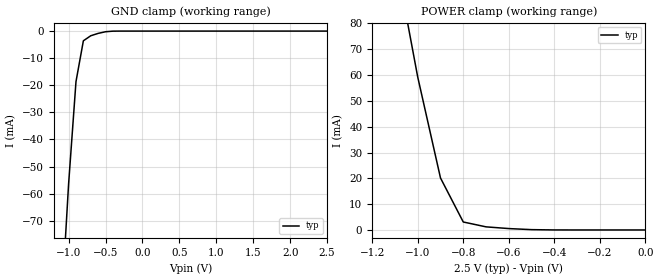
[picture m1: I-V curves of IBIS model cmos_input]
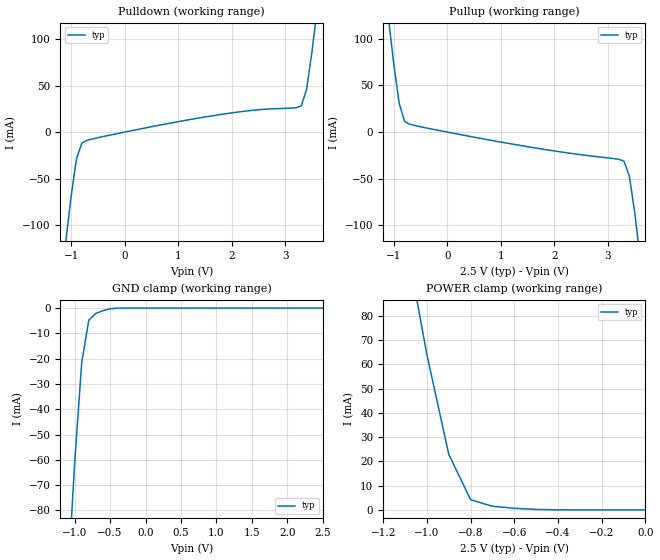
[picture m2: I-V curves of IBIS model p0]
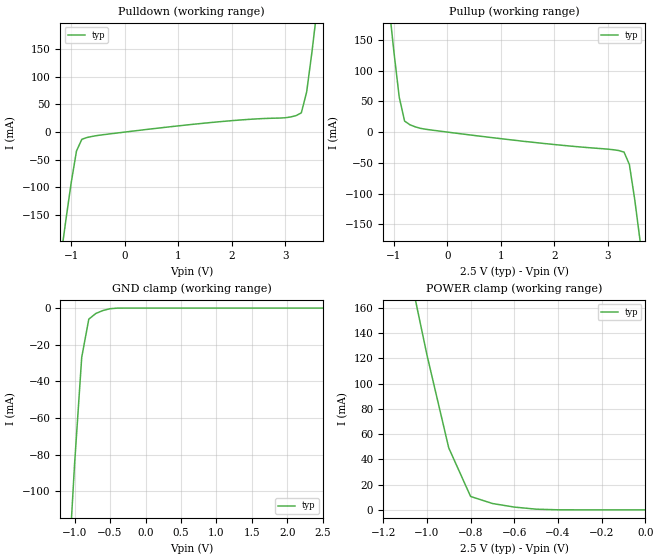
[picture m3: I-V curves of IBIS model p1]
|   This file is an IBIS representation of the   |
|   analog devices   |
|   AD9361   |
|=================== Header Section -------------------------------------------|
[IBIS Ver]  3.2
[File Name] ad9361_2p5_cmos_r2.ibs
[File Rev]  1.0
[Source]   This file originated at Analog Devices.
[Date]   10-31-2011
[Notes]   Quality Check Passes IBIS Checker.
[Disclaimer]
|   This IBIS model is provided "AS IS, Where IS, AND WITH NO
|   WARRANTY OF ANY KINND EITHER EXPRESSED OR IMPLIED, INCLUDING
|   BUT NOT LIMITED TO ANY IMPLIED WARRANTIES OF MECHANTABILITY
|   AND FITNESS FOR A PARTICULAR PURPOSE."
|   In no event will Analog Devices be liable for special, colloateral,
|   incidental, or consequential damages in connection with or
|   arising out of the use of this IBIS model. Analog Devices reserves
|   the right to make changes to the products and IBIS models without
|   prior notice.
[Copyright]   copyright (c)2010 Analog Devices, All rights reserved.
[Component] AD9361
[Manufacturer] Analog Devices
[Package]
|Variable typ   min   max
R_pkg  0.350ohms   NA   NA
L_pkg  2.0nH   NA   NA
C_pkg  .50pF   NA   NA
[Pin]   signal_name   model_name   R_pin   L_pin   C_pin
A1   RX2A_N   NC   NA   NA   NA
A2   RX2A_P   NC   NA   NA   NA
A3   RX2_SA_LNA_OUT   NC   NA   NA   NA
A4   RX2_SA_LNA_IN   NC   NA   NA   NA
A5   TX_MON2   NC   NA   NA   NA
A6   VSSA   NC   NA   NA   NA
A7   TX2A_N   NC   NA   NA   NA
A8   TX2A_P   NC   NA   NA   NA
A9   TX2B_N   NC   NA   NA   NA
A10   TX2B_P   NC   NA   NA   NA
A11   VDDA1P1_TX_VCO   NC   NA   NA   NA
A12   TX_EXT_LO_IN   NC   NA   NA   NA
B1   VSSA   GND   NA   NA   NA
B2   VSSA   GND   NA   NA   NA
B3   AUXDAC1   NC   NA   NA   NA
B4   GPO_3   GPO   NA   NA   NA
B5   GPO_2   GPO   NA   NA   NA
B6   GPO_1   GPO   NA   NA   NA
B7   GPO_0   GPO   NA   NA   NA
B8   VDDA_GPO   POWER   NA   NA   NA
B9   VDDA1P3_TX_LO   POWER   NA   NA   NA
B10   VDDA1P3_TX_VCO_LDO   POWER   NA   NA   NA
B11   TX_VCO_LDO_OUT   NC   NA   NA   NA
B12   VSSA   GND   NA   NA   NA
C1   RX2C_P   NC   NA   NA   NA
C2   VSSA   GND   NA   NA   NA
C3   AUXDAC2   NC   NA   NA   NA
C4   TEST/ENABLE   cmos_input   NA   NA   NA
C5   CTRL_IN0   cmos_input   NA   NA   NA
C6   CTRL_IN1   cmos_input   NA   NA   NA
C7   VSSA   GND   NA   NA   NA
C8   VSSA   GND   NA   NA   NA
C9   VSSA   GND   NA   NA   NA
C10   VSSA   GND   NA   NA   NA
C11   VSSA   GND   NA   NA   NA
C12   VSSA   GND   NA   NA   NA
D1   RX2C_N   NC   NA   NA   NA
D2   VDDA1P3_RX_RF   POWER   NA   NA   NA
D3   VDDA1P3_RX_TX   POWER   NA   NA   NA
D4   CTRL_OUT0   cmos_output   NA   NA   NA
D5   CTRL_IN3   cmos_input   NA   NA   NA
D6   CTRL_IN2   cmos_input   NA   NA   NA
D7   P0_D9-TX_D4_P   p0   NA   NA   NA
D8   P0_D7-TX_D3_P   p0   NA   NA   NA
D9   P0_D5-TX_D2_P   p0   NA   NA   NA
D10   P0_D3-TX_D1_P   p0   NA   NA   NA
D11   P0_D1-TX_D0_P   p0   NA   NA   NA
D12   VSSD   GND   NA   NA   NA
E1   RX2B_P   NC   NA   NA   NA
E2   VDDA1P3_RX_LO   NC   NA   NA   NA
E3   VDDA1P3_TX_LO_BUFFER  POWER   NA   NA   NA
E4   CTRL_OUT1   cmos_output   NA   NA   NA
E5   CTRL_OUT2   cmos_output   NA   NA   NA
E6   CTRL_OUT3   cmos_output   NA   NA   NA
E7   P0_D11-TX_D5_P   p0   NA   NA   NA
E8   P0_D8-TX_D4_N   p0   NA   NA   NA
E9   P0_D6-TX_D3_N   p0   NA   NA   NA
E10   P0_D4-TX_D2_N   p0   NA   NA   NA
E11   P0_D2-TX_D1_N   p0   NA   NA   NA
E12   P0_D0-TX_D0_N   p0   NA   NA   NA
F1   RX2B_N   NC   NA   NA   NA
F2   VDDA1P3_RX_VCO_LDO   POWER   NA   NA   NA
F3   VSSA   GND   NA   NA   NA
F4   CTRL_OUT6   cmos_output   NA   NA   NA
F5   CTRL_OUT5   cmos_output   NA   NA   NA
F6   CTRL_OUT4   cmos_output   NA   NA   NA
F7   VSSD   GND   NA   NA   NA
F8   P0_D10-TX_D5_N   p0   NA   NA   NA
F9   VSSD   GND   NA   NA   NA
F10   FB_CLK_P   cmos_input   NA   NA   NA
F11   VSSD   GND   NA   NA   NA
F12   VDDD1P3_DIG   POWER   NA   NA   NA
G1   RX_EXT_LO_IN   NC   NA   NA   NA
G2   RX_VCO_LDO_OUT   NC   NA   NA   NA
G3   VDDA1P1_RX_VCO   NC   NA   NA   NA
G4   CTRL_OUT7   cmos_output   NA   NA   NA
G5   EN_AGC   cmos_input   NA   NA   NA
G6   ENABLE   cmos_input   NA   NA   NA
G7   RX_FRAME_N   cmos_output   NA   NA   NA
G8   RX_FRAME_P   cmos_output   NA   NA   NA
G9   TX_FRAME_P   cmos_input   NA   NA   NA
G10   FB_CLK_N   cmos_input   NA   NA   NA
G11   DATA_CLK_P   cmos_output   NA   NA   NA
G12   VSSD   GND   NA   NA   NA
H1   RX1B_P   NC   NA   NA   NA
H2   VSSA   GND   NA   NA   NA
H3   VSSA   GND   NA   NA   NA
H4   TXNRX   cmos_input   NA   NA   NA
H5   SYNC_IN   cmos_input   NA   NA   NA
H6   REF_CLK_IN   NC   NA   NA   NA
H7   VSSD   NC   NA   NA   NA
H8   P1_D11-RX_D5_P   p1   NA   NA   NA
H9   TX_FRAME_N   cmos_input   NA   NA   NA
H10   VSSD   GND   NA   NA   NA
H11   DATA_CLK_N   cmos_output   NA   NA   NA
H12   VDD_INTERFACE   POWER   NA   NA   NA
J1   RX1B_N   NC   NA   NA   NA
J2   VSSA   GND   NA   NA   NA
J3   VDDA1P3_RX_SYNTH   POWER   NA   NA   NA
J4   SPI_DI   cmos_bidir   NA   NA   NA
J5   SPI_CLK   cmos_input   NA   NA   NA
J6   CLK_OUT   cmos_output   NA   NA   NA
J7   P1_D10-RX_D5_N   p1   NA   NA   NA
J8   P1_D9-RX_D4_P   p1   NA   NA   NA
J9   P1_D7-RX_D3_P   p1   NA   NA   NA
J10   P1_D5-RX_D2_P   p1   NA   NA   NA
J11   P1_D3-RX_D1_P   p1   NA   NA   NA
J12   P1_D1-RX_D0_P   p1   NA   NA   NA
K1   RX1C_P   NC   NA   NA   NA
K2   VSSA   GND   NA   NA   NA
K3   VDDA1P3_TX_SYNTH   POWER   NA   NA   NA
K4   VDDA1P3_BB   POWER   NA   NA   NA
K5   RESETB   cmos_input   NA   NA   NA
K6   SPI_ENB   cmos_input   NA   NA   NA
K7   P1_D8-RX_D4_N   p1   NA   NA   NA
K8   P1_D6-RX_D3_N   p1   NA   NA   NA
K9   P1_D4-RX_D2_N   p1   NA   NA   NA
K10   P1_D2-RX_D1_N   p1   NA   NA   NA
K11   P1_D0-RX_D0_N   p1   NA   NA   NA
K12   VSSD   GND   NA   NA   NA
L1   RX1C_N   NC   NA   NA   NA
L2   VSSA   GND   NA   NA   NA
L3   VSSA   GND   NA   NA   NA
L4   RBIAS   NC   NA   NA   NA
L5   AUXADC   NC   NA   NA   NA
L6   SPI_DO   cmos_out_3st   NA   NA   NA
L7   VSSA   GND   NA   NA   NA
L8   VSSA   GND   NA   NA   NA
L9   VSSA   GND   NA   NA   NA
L10   VSSA   GND   NA   NA   NA
L11   VSSA   GND   NA   NA   NA
L12   VSSA   GND   NA   NA   NA
M1   RX1A_P   NC   NA   NA   NA
M2   RX1A_N   NC   NA   NA   NA
M3   RX1_SA_LNA_OUT   NC   NA   NA   NA
M4   RX1_SA_LNA_IN   NC   NA   NA   NA
M5   TX_MON1   NC   NA   NA   NA
M6   VSSA   GND   NA   NA   NA
M7   TX1A_P   NC   NA   NA   NA
M8   TX1A_N   NC   NA   NA   NA
M9   TX1B_P   NC   NA   NA   NA
M10   TX1B_N   NC   NA   NA   NA
M11   XTALP   NC   NA   NA   NA
M12   XTALN   NC   NA   NA   NA
| Models and submodels in the file (7): cmos_input (Input), p0 (I/O), p1 (I/O), cmos_out_3st (3-state), cmos_output (Output), cmos_bidir (I/O), GPO (3-state)
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|   Note: V-I curves for all models are truncated
|   if the current exceeds ~200mA
[Model] cmos_input
Model_type Input
Vinl = 0.875
Vinh = 1.625
|   typ   min   max
C_comp  4pF   NA   NA
|   typ   min   max
[Voltage Range]   2.500V  NA   NA
[GND Clamp Reference]   0.000V  NA   NA
[POWER Clamp Reference] 2.500V  NA   NA
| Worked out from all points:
|   GND clamp passes 1 mA (typ) near -0.62 V on its own axis
|   POWER clamp passes 1 mA (typ) near -0.67 V on its own axis
[GND Clamp]
| Voltage  I(typ)   I(min)  I(max)
-2.5V     -857.6mA   NA         NA
-1.1V     -103.1mA   NA         NA
-1V       -56.47mA   NA         NA
-900mV    -18.66mA   NA         NA
-800mV    -3.584mA   NA         NA
-700mV    -1.725mA   NA         NA
-500mV    -242.9uA   NA         NA
-400mV    -23.56uA   NA         NA
2.5V      90pA       NA         NA
[POWER Clamp]
-2.5V     862.9mA    NA         NA
-1.1V     106.5mA    NA         NA
-1V       59.26mA    NA         NA
-900mV    20.15mA    NA         NA
-800mV    3.092mA    NA         NA
-700mV    1.208mA    NA         NA
-500mV    127uA      NA         NA
0V        90pA       NA         NA
[model] p0
Model_type I/O
Vinl = 0.875
Vinh = 1.625
Cref  =   3.000pF
Rref  =   10kOhm
Vref  =   2.5V
Vmeas =   2.3V
C_comp 4pF NA NA
| variable   typ   min   max
[Voltage Range]   2.500V  NA   NA
[GND Clamp Reference]   0.000V  NA   NA
[POWER Clamp Reference] 2.500V  NA   NA
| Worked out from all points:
|   slope of the pulldown table from 0 to 0.375 V, typ, clamps not added: 86.2 ohm
|   slope of the pullup table from 0 to 0.375 V, typ, clamps not added: 91.1 ohm
|   GND clamp passes 1 mA (typ) near -0.60 V on its own axis
|   POWER clamp passes 1 mA (typ) near -0.64 V on its own axis
[GND Clamp]
| Voltage  I(typ)   I(min)  I(max)
-2.5V     -896.9mA   NA         NA
-1.1V     -110.2mA   NA         NA
-1V       -61.38mA   NA         NA
-900mV    -21.55mA   NA         NA
-800mV    -4.757mA   NA         NA
-700mV    -2.081mA   NA         NA
-500mV    -309.3uA   NA         NA
-400mV    -32.46uA   NA         NA
2.5V      150pA      NA         NA
[POWER Clamp]
| Voltage  I(typ)   I(min)  I(max)
-2.5V     902.2mA    NA         NA
-1.1V     113.4mA    NA         NA
-1V       64.07mA    NA         NA
-900mV    22.95mA    NA         NA
-800mV    4.199mA    NA         NA
-700mV    1.478mA    NA         NA
-600mV    656.2uA    NA         NA
-400mV    15.82uA    NA         NA
0V        150pA      NA         NA
[Pulldown]
| Voltage  I(typ)   I(min)  I(max)
-2.5V     -900.1mA   NA         NA
-1.1V     -117.5mA   NA         NA
-1V       -68.63mA   NA         NA
-900mV    -28.69mA   NA         NA
-800mV    -11.73mA   NA         NA
-400mV    -4.72mA    NA         NA
1.4V      15.27mA    NA         NA
3.3V      28.23mA    NA         NA
3.4V      46.28mA    NA         NA
3.5V      86.56mA    NA         NA
3.6V      134.8mA    NA         NA
5V        908.2mA    NA         NA
[Pullup]
| Voltage  I(typ)   I(min)  I(max)
-2.5V     905.6mA    NA         NA
-1.1V     121.4mA    NA         NA
-900mV    30.64mA    NA         NA
-800mV    11.52mA    NA         NA
-700mV    8.345mA    NA         NA
1.5V      -15.65mA   NA         NA
3.2V      -29.1mA    NA         NA
3.3V      -31.25mA   NA         NA
3.4V      -47.35mA   NA         NA
3.5V      -86.39mA   NA         NA
3.6V      -134.3mA   NA         NA
5V        -905.7mA   NA         NA
[Ramp]
|   typ   min   max
dV/dt_r   1.625V/.219ns   NA   NA
dV/dt_f   1.625V/.223ns   NA   NA
R_load=10k
|--end p0 model---------------------------------
[model] p1
Model_type I/O
Vinl = 0.875
Vinh = 1.625
Cref  =   3.000pF
Rref  =   10kOhm
Vref  =   2.5V
Vmeas =   2.3V
C_comp 4pF NA NA
| variable   typ   min   max
[Voltage Range]   2.500V  NA   NA
[GND Clamp Reference]   0.000V  NA   NA
[POWER Clamp Reference] 2.500V  NA   NA
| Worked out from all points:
|   slope of the pulldown table from 0 to 0.375 V, typ, clamps not added: 86.2 ohm
|   slope of the pullup table from 0 to 0.375 V, typ, clamps not added: 91.1 ohm
|   GND clamp passes 1 mA (typ) near -0.57 V on its own axis
|   POWER clamp passes 1 mA (typ) near -0.53 V on its own axis
[GND Clamp]
| Voltage  I(typ)   I(min)  I(max)
-2.5V     -1.205A    NA         NA
-1.1V     -152.5mA   NA         NA
-1V       -84.63mA   NA         NA
-900mV    -26.85mA   NA         NA
-800mV    -6.033mA   NA         NA
-700mV    -2.925mA   NA         NA
-500mV    -346.6uA   NA         NA
-400mV    -31.48uA   NA         NA
2.5V      100pA      NA         NA
[POWER Clamp]
| Voltage  I(typ)   I(min)  I(max)
-2.5V     1.51A      NA         NA
-1.1V     205.7mA    NA         NA
-1V       123mA      NA         NA
-900mV    49.11mA    NA         NA
-800mV    10.62mA    NA         NA
-700mV    5.032mA    NA         NA
-600mV    2.196mA    NA         NA
-500mV    535.1uA    NA         NA
0V        100pA      NA         NA
[Pulldown]
| Voltage  I(typ)   I(min)  I(max)
-2.5V     -1.208A    NA         NA
-1.2V     -231mA     NA         NA
-1.1V     -159.8mA   NA         NA
-900mV    -33.99mA   NA         NA
-800mV    -13mA      NA         NA
900mV     10.15mA    NA         NA
3.2V      29.67mA    NA         NA
3.3V      34.65mA    NA         NA
3.4V      72.44mA    NA         NA
3.5V      145.5mA    NA         NA
3.6V      227.1mA    NA         NA
5V        1.516A     NA         NA
[Pullup]
| Voltage  I(typ)   I(min)  I(max)
-2.5V     1.513A     NA         NA
-1.1V     213.7mA    NA         NA
-1V       130.9mA    NA         NA
-900mV    56.8mA     NA         NA
-800mV    17.93mA    NA         NA
-700mV    11.9mA     NA         NA
-500mV    6.058mA    NA         NA
0V        90pA       NA         NA
3.3V      -32.52mA   NA         NA
3.4V      -52.66mA   NA         NA
3.6V      -176.6mA   NA         NA
5V        -1.214A    NA         NA
[Ramp]
|   typ   min   max
dV/dt_r   1.625V/.143ns   NA   NA
dV/dt_f   1.625V/.141ns   NA   NA
R_load=10k
|--end p1 model---------------------------------
